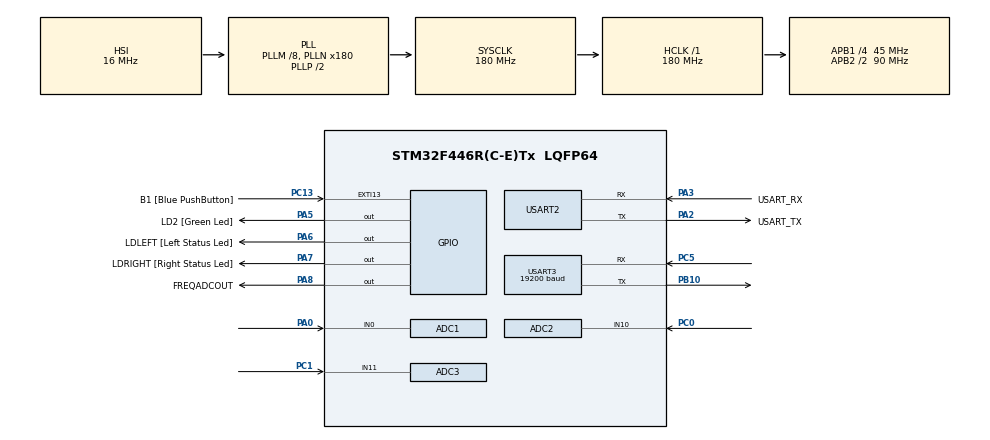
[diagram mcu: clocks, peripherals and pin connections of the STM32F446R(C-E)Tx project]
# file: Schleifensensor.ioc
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ADC1.Channel-4\#ChannelRegularConversion=ADC_CHANNEL_0
ADC1.ClockPrescaler=ADC_CLOCK_SYNC_PCLK_DIV4
ADC1.ContinuousConvMode=DISABLE
ADC1.DMAContinuousRequests=DISABLE
ADC1.DataAlign=ADC_DATAALIGN_RIGHT
ADC1.DiscontinuousConvMode=DISABLE
ADC1.EOCSelection=ADC_EOC_SEQ_CONV
ADC1.EnableAnalogWatchDog=false
ADC1.ExternalTrigConv=ADC_EXTERNALTRIGCONV_T2_TRGO
ADC1.ExternalTrigConvEdge=ADC_EXTERNALTRIGCONVEDGE_RISING
ADC1.InjNumberOfConversion=0
ADC1.NbrOfConversion=1
ADC1.NbrOfConversionFlag=1
ADC1.Rank-4\#ChannelRegularConversion=1
ADC1.Resolution=ADC_RESOLUTION_12B
ADC1.SamplingTime-4\#ChannelRegularConversion=ADC_SAMPLETIME_56CYCLES
ADC1.ScanConvMode=DISABLE
ADC1.master=1
ADC2.Channel-0\#ChannelRegularConversion=ADC_CHANNEL_10
ADC2.ClockPrescaler=ADC_CLOCK_SYNC_PCLK_DIV4
ADC2.ContinuousConvMode=DISABLE
ADC2.DMAContinuousRequests=DISABLE
ADC2.DataAlign=ADC_DATAALIGN_RIGHT
ADC2.DiscontinuousConvMode=DISABLE
ADC2.EOCSelection=ADC_EOC_SEQ_CONV
ADC2.EnableAnalogWatchDog=false
ADC2.ExternalTrigConv=ADC_EXTERNALTRIGCONV_T2_TRGO
ADC2.ExternalTrigConvEdge=ADC_EXTERNALTRIGCONVEDGE_RISING
ADC2.InjNumberOfConversion=0
ADC2.NbrOfConversion=1
ADC2.NbrOfConversionFlag=1
ADC2.Rank-0\#ChannelRegularConversion=1
ADC2.Resolution=ADC_RESOLUTION_12B
ADC2.SamplingTime-0\#ChannelRegularConversion=ADC_SAMPLETIME_56CYCLES
ADC2.ScanConvMode=DISABLE
ADC3.Channel-0\#ChannelRegularConversion=ADC_CHANNEL_11
ADC3.ClockPrescaler=ADC_CLOCK_SYNC_PCLK_DIV4
ADC3.ContinuousConvMode=DISABLE
ADC3.DMAContinuousRequests=DISABLE
ADC3.DataAlign=ADC_DATAALIGN_RIGHT
ADC3.DiscontinuousConvMode=DISABLE
ADC3.EOCSelection=ADC_EOC_SINGLE_CONV
ADC3.EnableAnalogWatchDog=false
ADC3.ExternalTrigConv=ADC_EXTERNALTRIGCONV_T2_TRGO
ADC3.ExternalTrigConvEdge=ADC_EXTERNALTRIGCONVEDGE_RISING
ADC3.InjNumberOfConversion=0
ADC3.NbrOfConversion=1
ADC3.NbrOfConversionFlag=1
ADC3.Rank-0\#ChannelRegularConversion=1
ADC3.Resolution=ADC_RESOLUTION_12B
ADC3.SamplingTime-0\#ChannelRegularConversion=ADC_SAMPLETIME_56CYCLES
ADC3.ScanConvMode=DISABLE
Dma.ADC1.2.Direction=DMA_PERIPH_TO_MEMORY
Dma.ADC1.2.FIFOMode=DMA_FIFOMODE_ENABLE
Dma.ADC1.2.FIFOThreshold=DMA_FIFO_THRESHOLD_HALFFULL
Dma.ADC1.2.Instance=DMA2_Stream0
Dma.ADC1.2.MemBurst=DMA_MBURST_SINGLE
Dma.ADC1.2.MemDataAlignment=DMA_MDATAALIGN_HALFWORD
Dma.ADC1.2.MemInc=DMA_MINC_ENABLE
Dma.ADC1.2.Mode=DMA_NORMAL
Dma.ADC1.2.PeriphBurst=DMA_PBURST_SINGLE
Dma.ADC1.2.PeriphDataAlignment=DMA_PDATAALIGN_HALFWORD
Dma.ADC1.2.PeriphInc=DMA_PINC_DISABLE
Dma.ADC1.2.Priority=DMA_PRIORITY_HIGH
Dma.ADC2.1.Direction=DMA_PERIPH_TO_MEMORY
Dma.ADC2.1.FIFOMode=DMA_FIFOMODE_ENABLE
Dma.ADC2.1.FIFOThreshold=DMA_FIFO_THRESHOLD_HALFFULL
Dma.ADC2.1.Instance=DMA2_Stream2
Dma.ADC2.1.MemBurst=DMA_MBURST_SINGLE
Dma.ADC2.1.MemDataAlignment=DMA_MDATAALIGN_HALFWORD
Dma.ADC2.1.MemInc=DMA_MINC_ENABLE
Dma.ADC2.1.Mode=DMA_NORMAL
Dma.ADC2.1.PeriphBurst=DMA_PBURST_SINGLE
Dma.ADC2.1.PeriphDataAlignment=DMA_PDATAALIGN_HALFWORD
Dma.ADC2.1.PeriphInc=DMA_PINC_DISABLE
Dma.ADC2.1.Priority=DMA_PRIORITY_HIGH
Dma.ADC3.3.Direction=DMA_PERIPH_TO_MEMORY
Dma.ADC3.3.FIFOMode=DMA_FIFOMODE_ENABLE
Dma.ADC3.3.FIFOThreshold=DMA_FIFO_THRESHOLD_HALFFULL
Dma.ADC3.3.Instance=DMA2_Stream1
Dma.ADC3.3.MemBurst=DMA_MBURST_SINGLE
Dma.ADC3.3.MemDataAlignment=DMA_MDATAALIGN_HALFWORD
Dma.ADC3.3.MemInc=DMA_MINC_ENABLE
Dma.ADC3.3.Mode=DMA_NORMAL
Dma.ADC3.3.PeriphBurst=DMA_PBURST_SINGLE
Dma.ADC3.3.PeriphDataAlignment=DMA_PDATAALIGN_HALFWORD
Dma.ADC3.3.PeriphInc=DMA_PINC_DISABLE
Dma.ADC3.3.Priority=DMA_PRIORITY_HIGH
Dma.Request0=USART2_RX
Dma.Request1=ADC2
Dma.Request2=ADC1
Dma.Request3=ADC3
Dma.USART2_RX.0.Direction=DMA_PERIPH_TO_MEMORY
Dma.USART2_RX.0.FIFOMode=DMA_FIFOMODE_DISABLE
Dma.USART2_RX.0.Instance=DMA1_Stream5
Dma.USART2_RX.0.MemDataAlignment=DMA_MDATAALIGN_BYTE
Dma.USART2_RX.0.MemInc=DMA_MINC_ENABLE
Dma.USART2_RX.0.Mode=DMA_CIRCULAR
Dma.USART2_RX.0.PeriphDataAlignment=DMA_PDATAALIGN_BYTE
Dma.USART2_RX.0.PeriphInc=DMA_PINC_DISABLE
Dma.USART2_RX.0.Priority=DMA_PRIORITY_LOW
Mcu.Family=STM32F4
Mcu.Name=STM32F446R(C-E)Tx
Mcu.Package=LQFP64
NVIC.DMA1_Stream5_IRQn=true\:0\:0\:false\:false\:true
NVIC.DMA2_Stream0_IRQn=true\:0\:0\:false\:false\:true
NVIC.DMA2_Stream1_IRQn=true\:0\:0\:false\:false\:true
NVIC.DMA2_Stream2_IRQn=true\:0\:0\:false\:false\:true
NVIC.PriorityGroup=NVIC_PRIORITYGROUP_0
NVIC.TIM2_IRQn=true\:0\:0\:false\:false\:true
PA0-WKUP.Signal=ADCx_IN0
PA13.GPIO_Label=TMS
PA13.Mode=Serial_Wire
PA13.Signal=SYS_JTMS-SWDIO
PA14.GPIO_Label=TCK
PA14.Mode=Serial_Wire
PA14.Signal=SYS_JTCK-SWCLK
PA2.GPIO_Label=USART_TX
PA2.Mode=Asynchronous
PA2.Signal=USART2_TX
PA3.GPIO_Label=USART_RX
PA3.Mode=Asynchronous
PA3.Signal=USART2_RX
PA5.GPIO_Label=LD2 [Green Led]
PA5.Signal=GPIO_Output
PA6.GPIO_Label=LDLEFT [Left Status Led]
PA6.Signal=GPIO_Output
PA7.GPIO_Label=LDRIGHT [Right Status Led]
PA7.Signal=GPIO_Output
PA8.GPIO_Label=FREQADCOUT
PA8.GPIO_Speed=GPIO_SPEED_FREQ_HIGH
PA8.Signal=GPIO_Output
PB10.Mode=Asynchronous
PB10.Signal=USART3_TX
PB3.GPIO_Label=SWO
PB3.Signal=SYS_JTDO-SWO
PC0.Signal=ADCx_IN10
PC1.Signal=ADCx_IN11
PC13.GPIO_Label=B1 [Blue PushButton]
PC13.GPIO_ModeDefaultEXTI=GPIO_MODE_EVT_RISING
PC13.Signal=GPXTI13
PC14-OSC32_IN.Signal=RCC_OSC32_IN
PC15-OSC32_OUT.Signal=RCC_OSC32_OUT
PC5.Mode=Asynchronous
PC5.Signal=USART3_RX
PH0-OSC_IN.Signal=RCC_OSC_IN
PH1-OSC_OUT.Signal=RCC_OSC_OUT
ProjectManager.HeapSize=0x200
ProjectManager.StackSize=0x400
ProjectManager.TargetToolchain=SW4STM32
RCC.AHBFreq_Value=180000000
RCC.APB1CLKDivider=RCC_HCLK_DIV4
RCC.APB1Freq_Value=45000000
RCC.APB1TimFreq_Value=90000000
RCC.APB2CLKDivider=RCC_HCLK_DIV2
RCC.APB2Freq_Value=90000000
RCC.APB2TimFreq_Value=180000000
RCC.CortexFreq_Value=180000000
RCC.FLatency-AdvancedSettings=FLASH_LATENCY_5
RCC.HCLKFreq_Value=180000000
RCC.HSE_VALUE=8000000
RCC.HSI_VALUE=16000000
RCC.LSE_VALUE=32768
RCC.PLLM=8
RCC.PLLN=180
RCC.SYSCLKFreq_VALUE=180000000
RCC.SYSCLKSource=RCC_SYSCLKSOURCE_PLLCLK
RCC.USBFreq_Value=180000000
RCC.VCOOutputFreq_Value=360000000
SH.ADCx_IN0.0=ADC1_IN0,IN0
SH.ADCx_IN10.0=ADC2_IN10,IN10
SH.ADCx_IN11.0=ADC3_IN11,IN11
TIM2.Period=1185
TIM2.Prescaler=0
TIM2.TIM_MasterOutputTrigger=TIM_TRGO_UPDATE
USART3.BaudRate=19200
USART3.Mode=MODE_TX
VP_TIM2_VS_ClockSourceINT.Mode=Internal
board=NUCLEO-F446RE

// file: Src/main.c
/**
 ******************************************************************************
 * File Name          : main.c
 * Description        : Main program body
 ******************************************************************************
 *
 * COPYRIGHT(c) 2017 STMicroelectronics
 *
 * Redistribution and use in source and binary forms, with or without modification,
 * are permitted provided that the following conditions are met:
 *   1. Redistributions of source code must retain the above copyright notice,
 *      this list of conditions and the following disclaimer.
 *   2. Redistributions in binary form must reproduce the above copyright notice,
 *      this list of conditions and the following disclaimer in the documentation
 *      and/or other materials provided with the distribution.
 *   3. Neither the name of STMicroelectronics nor the names of its contributors
 *      may be used to endorse or promote products derived from this software
 *      without specific prior written permission.
 *
 * THIS SOFTWARE IS PROVIDED BY THE COPYRIGHT HOLDERS AND CONTRIBUTORS "AS IS"
 * AND ANY EXPRESS OR IMPLIED WARRANTIES, INCLUDING, BUT NOT LIMITED TO, THE
 * IMPLIED WARRANTIES OF MERCHANTABILITY AND FITNESS FOR A PARTICULAR PURPOSE ARE
 * DISCLAIMED. IN NO EVENT SHALL THE COPYRIGHT HOLDER OR CONTRIBUTORS BE LIABLE
 * FOR ANY DIRECT, INDIRECT, INCIDENTAL, SPECIAL, EXEMPLARY, OR CONSEQUENTIAL
 * DAMAGES (INCLUDING, BUT NOT LIMITED TO, PROCUREMENT OF SUBSTITUTE GOODS OR
 * SERVICES; LOSS OF USE, DATA, OR PROFITS; OR BUSINESS INTERRUPTION) HOWEVER
 * CAUSED AND ON ANY THEORY OF LIABILITY, WHETHER IN CONTRACT, STRICT LIABILITY,
 * OR TORT (INCLUDING NEGLIGENCE OR OTHERWISE) ARISING IN ANY WAY OUT OF THE USE
 * OF THIS SOFTWARE, EVEN IF ADVISED OF THE POSSIBILITY OF SUCH DAMAGE.
 *
 ******************************************************************************
 */
#include "main.h"
#include "stm32f4xx_hal.h"

/* USER CODE BEGIN Includes */

// Wert von  htim2.Init.Period = 1185; in timer 2 kann dazu verwendet werden,
// die peakdistanz auf 480 zu justieren
#include <string.h>
#include <stdio.h>
#include <stdlib.h>
#include "calculation.h"
#include "cmd.h"
/* USER CODE END Includes */

ADC_HandleTypeDef hadc1;
ADC_HandleTypeDef hadc2;
ADC_HandleTypeDef hadc3;
DMA_HandleTypeDef hdma_adc1;
DMA_HandleTypeDef hdma_adc2;
DMA_HandleTypeDef hdma_adc3;

TIM_HandleTypeDef htim2;

UART_HandleTypeDef huart2;
UART_HandleTypeDef huart3;
DMA_HandleTypeDef hdma_usart2_rx;

/* USER CODE BEGIN PV */
/* Private variables ---------------------------------------------------------*/
volatile uint8_t convCompletedL = 0;
volatile uint8_t convCompletedR = 0;
volatile uint8_t convCompletedB = 0;

// Arrays for adc values
int16_t adcValueL[EMPF_ARRAY_SIZE];
int16_t adcValueR[EMPF_ARRAY_SIZE];
int16_t adcValueB[EMPF_ARRAY_SIZE];

// Result values for each calculated coil. Includes also a pointer to current adcValueX.
CAL_ChannelTypeDef coilL;
CAL_ChannelTypeDef coilR;
CAL_ChannelTypeDef coilB;

// Flags will be set by commandfunctions and determine if a printfunction is called.
bool flagShowSignalL = false;
bool flagShowSignalR = false;
bool flagShowSignalB = false;
bool flagShowADCSignalL = false;
bool flagShowADCSignalR = false;
bool flagShowADCSignalB = false;
bool flagShowADCSignalLRaw = false;
bool flagShowADCSignalRRaw = false;
bool flagShowADCSignalBRaw = false;
bool flag_ShowValuesSendToMaster = false;
bool flagShowOffset = false;
bool flagShowLoopTime = false;

/* USER CODE END PV */

void SystemClock_Config(void);
void Error_Handler(void);
static void MX_GPIO_Init(void);
static void MX_DMA_Init(void);
static void MX_ADC1_Init(void);
static void MX_USART2_UART_Init(void);
static void MX_TIM2_Init(void);
static void MX_ADC2_Init(void);
static void MX_USART3_UART_Init(void);
static void MX_ADC3_Init(void);

/* USER CODE BEGIN PFP */
/* Private function prototypes -----------------------------------------------*/

/* USER CODE END PFP */

/* USER CODE BEGIN 0 */
void cmd_help(int arg_cnt, char **args);
void cmd_showSignalL(int arg_cnt, char **args);
void cmd_showSignalR(int arg_cnt, char **args);
void cmd_showSignalB(int arg_cnt, char **args);
void cmd_showADCSignalL(int arg_cnt, char **args);
void cmd_showADCSignalR(int arg_cnt, char **args);
void cmd_showADCSignalB(int arg_cnt, char **args);
void cmd_showADCSignalLRaw(int arg_cnt, char **args);
void cmd_showADCSignalRRaw(int arg_cnt, char **args);
void cmd_showADCSignalBRaw(int arg_cnt, char **args);
void cmd_showValuesSendToDue(int arg_cnt, char **args);
void cmd_showOffset(int arg_cnt, char **args);
void cmd_showLoopTime(int arg_cnt, char **args);
void cmd_hideValues(int arg_cnt, char **args);
void cmd_showFreeMem(int arg_cnt, char **args);

extern void sendToMaster(CAL_ChannelTypeDef *confL, CAL_ChannelTypeDef *confR, CAL_ChannelTypeDef *confB,
		bool flag_ShowValuesSendToDue);
extern void ledSetState(CAL_ChannelTypeDef *confL, CAL_ChannelTypeDef *confR);
/* USER CODE END 0 */

int main(void) {

	/* USER CODE BEGIN 1 */
	char msg[40];
	volatile uint32_t time, deltaTime;

	/* USER CODE END 1 */

	/* MCU Configuration----------------------------------------------------------*/

	/* Reset of all peripherals, Initializes the Flash interface and the Systick. */
	HAL_Init();

	/* Configure the system clock */
	SystemClock_Config();

	/* Initialize all configured peripherals */
	MX_GPIO_Init();
	MX_DMA_Init();
	MX_ADC1_Init();
	MX_USART2_UART_Init();
	MX_TIM2_Init();
	MX_ADC2_Init();
	MX_USART3_UART_Init();
	MX_ADC3_Init();

	/* USER CODE BEGIN 2 */

	//HAL_TIM_Base_Start_IT(&htim2); //Use for checking timer frequency on D7
	HAL_TIM_Base_Start(&htim2);
	cal_init();
	cmdInit(); // Activates also USART2 Interrupt

	cmdAdd((char *) ("H"), cmd_help);
	cmdAdd((char *) ("l"), cmd_showSignalL);
	cmdAdd((char *) ("r"), cmd_showSignalR);
	cmdAdd((char *) ("b"), cmd_showSignalB);
	cmdAdd((char *) ("adcl"), cmd_showADCSignalL);
	cmdAdd((char *) ("adcr"), cmd_showADCSignalR);
	cmdAdd((char *) ("adcb"), cmd_showADCSignalB);
	cmdAdd((char *) ("adclraw"), cmd_showADCSignalLRaw);
	cmdAdd((char *) ("adcrraw"), cmd_showADCSignalRRaw);
	cmdAdd((char *) ("adcbraw"), cmd_showADCSignalBRaw);
	cmdAdd((char *) ("h"), cmd_hideValues);
	cmdAdd((char *) ("H"), cmd_help);
	cmdAdd((char *) ("s"), cmd_showValuesSendToDue);
	cmdAdd((char *) ("o"), cmd_showOffset);
	cmdAdd((char *) ("t"), cmd_showLoopTime);
	cmdAdd((char *) ("f"), cmd_showFreeMem);

	coilL.empfangssignal = adcValueL;
	coilR.empfangssignal = adcValueR;
	coilB.empfangssignal = adcValueB;

	convCompletedL = 0;
	convCompletedR = 0;
	convCompletedB = 0;

	// Linke Spule samplen
	if (HAL_ADC_Start_DMA(&hadc1, (uint32_t*) adcValueL, EMPF_ARRAY_SIZE) != HAL_OK) {
		// Start Conversation Error
		Error_Handler();
	}

	/* USER CODE END 2 */

	/* Infinite loop */
	/* USER CODE BEGIN WHILE */
	while (1) {
		time = HAL_GetTick();

		//-----------------------------------------
		// Rechte Spule samplen
		//-----------------------------------------
		if (HAL_ADC_Start_DMA(&hadc2, (uint32_t*) adcValueR, EMPF_ARRAY_SIZE) != HAL_OK) {
			// Start Conversation Error
			Error_Handler();
		}

		//-----------------------------------------
		// Linke Spule berechnen
		//-----------------------------------------
		while (!convCompletedL)
			// Wait for sample rechte spule to finish
			;
		convCompletedL = 0;
		HAL_Delay(1); //Wait one ms that the second dma channel finishing datatransfer. If not waiting, the last value in the array is wrong.
		HAL_ADC_Stop_DMA(&hadc1);

		// Print adc raw signal
		if (flagShowADCSignalLRaw) {
			cal_printADCSignal(&coilL, 50000, &flagShowADCSignalLRaw);  //Empfangssignal auf Konsole ausgeben
		}

		cal_offset(&coilL);
		cal_convolve(&coilL);

		if (flagShowSignalL) {
			cal_printSignal(&coilL, 50000, &flagShowSignalL);  //Empfangssignal und Korrelatiossignal auf Konsole ausgeben
		}
		if (flagShowADCSignalL) {
			cal_printADCSignal(&coilL, 50000, &flagShowADCSignalL);  //Empfangssignal auf Konsole ausgeben
		}

		//-----------------------------------------
		// Hintere Spule samplen
		//-----------------------------------------
		if (HAL_ADC_Start_DMA(&hadc3, (uint32_t*) adcValueB, EMPF_ARRAY_SIZE) != HAL_OK) {
			// Start Conversation Error
			Error_Handler();
		}

		//-----------------------------------------
		// Recht Spule berechnen
		//-----------------------------------------
		while (!convCompletedR)
			// Wait for sample rechte spule to finish
			;
		convCompletedR = 0;
		HAL_Delay(1); //Wait one ms that the second dma channel finishing datatransfer. If not waiting, the last value in the array is wrong.
		HAL_ADC_Stop_DMA(&hadc2);

		if (flagShowADCSignalRRaw) {
			cal_printADCSignal(&coilR, 40000, &flagShowADCSignalRRaw);  //Empfangssignal auf Konsole ausgeben
		}

		cal_offset(&coilR);
		cal_convolve(&coilR);

		if (flagShowSignalR) {
			cal_printSignal(&coilR, 40000, &flagShowSignalR);  //Empfangssignal und Korrelatiossignal auf Konsole ausgeben
		}
		if (flagShowADCSignalR) {
			cal_printADCSignal(&coilR, 40000, &flagShowADCSignalR);  //Empfangssignal auf Konsole ausgeben
		}
		//-----------------------------------------
		// Linke Spule samplen
		//-----------------------------------------
		if (HAL_ADC_Start_DMA(&hadc1, (uint32_t*) adcValueL, EMPF_ARRAY_SIZE) != HAL_OK) {
			// Start Conversation Error
			Error_Handler();
		}

		//-----------------------------------------
		// Hintere Spule berechnen
		//-----------------------------------------
		while (!convCompletedB)
			// Wait for sample rechte spule to finish
			;
		convCompletedB = 0;
		HAL_Delay(1); //Wait one ms that the second dma channel finishing datatransfer. If not waiting, the last value in the array is wrong.
		HAL_ADC_Stop_DMA(&hadc3);

		if (flagShowADCSignalBRaw) {
			cal_printADCSignal(&coilB, 30000, &flagShowADCSignalBRaw);  //Empfangssignal auf Konsole ausgeben
		}

		cal_offset(&coilB);
		cal_convolve(&coilB);

		if (flagShowSignalB) {
			cal_printSignal(&coilB, 30000, &flagShowSignalB);  //Empfangssignal und Korrelatiossignal auf Konsole ausgeben
		}
		if (flagShowADCSignalB) {
			cal_printADCSignal(&coilB, 30000, &flagShowADCSignalB);  //Empfangssignal auf Konsole ausgeben
		}

		//-----------------------------------------
		// An Master senden
		//-----------------------------------------
		sendToMaster(&coilL, &coilR, &coilB, flag_ShowValuesSendToMaster); // Sets LED status too
		ledSetState(&coilL, &coilR);

		//-----------------------------------------
		// Offset ausgeben
		//-----------------------------------------

		if (flagShowOffset) {
			cal_printOffset(&coilL, &coilR, &coilB);
		}

		//-----------------------------------------
		// Loopdauer ausgeben
		//-----------------------------------------

		if (flagShowLoopTime) {
			deltaTime = HAL_GetTick() - time;
			time = HAL_GetTick();

			sprintf(msg, "time: %lu\r\n", time);
			HAL_UART_Transmit(&huart2, (uint8_t*) msg, strlen(msg),
			HAL_MAX_DELAY);

			sprintf(msg, "deltaTime: %lu\r\n", deltaTime);
			HAL_UART_Transmit(&huart2, (uint8_t*) msg, strlen(msg),
			HAL_MAX_DELAY);

		}
		/* USER CODE END WHILE */

	}

}

/** System Clock Configuration
 */
void SystemClock_Config(void) {

	RCC_OscInitTypeDef RCC_OscInitStruct;
	RCC_ClkInitTypeDef RCC_ClkInitStruct;

	/**Configure the main internal regulator output voltage
	 */
	__HAL_RCC_PWR_CLK_ENABLE()
	;

	__HAL_PWR_VOLTAGESCALING_CONFIG(PWR_REGULATOR_VOLTAGE_SCALE1);

	/**Initializes the CPU, AHB and APB busses clocks
	 */
	RCC_OscInitStruct.OscillatorType = RCC_OSCILLATORTYPE_HSI;
	RCC_OscInitStruct.HSIState = RCC_HSI_ON;
	RCC_OscInitStruct.HSICalibrationValue = 16;
	RCC_OscInitStruct.PLL.PLLState = RCC_PLL_ON;
	RCC_OscInitStruct.PLL.PLLSource = RCC_PLLSOURCE_HSI;
	RCC_OscInitStruct.PLL.PLLM = 8;
	RCC_OscInitStruct.PLL.PLLN = 180;
	RCC_OscInitStruct.PLL.PLLP = RCC_PLLP_DIV2;
	RCC_OscInitStruct.PLL.PLLQ = 2;
	RCC_OscInitStruct.PLL.PLLR = 2;
	if (HAL_RCC_OscConfig(&RCC_OscInitStruct) != HAL_OK) {
		Error_Handler();
	}

	/**Activate the Over-Drive mode
	 */
	if (HAL_PWREx_EnableOverDrive() != HAL_OK) {
		Error_Handler();
	}

	/**Initializes the CPU, AHB and APB busses clocks
	 */
	RCC_ClkInitStruct.ClockType = RCC_CLOCKTYPE_HCLK | RCC_CLOCKTYPE_SYSCLK | RCC_CLOCKTYPE_PCLK1 | RCC_CLOCKTYPE_PCLK2;
	RCC_ClkInitStruct.SYSCLKSource = RCC_SYSCLKSOURCE_PLLCLK;
	RCC_ClkInitStruct.AHBCLKDivider = RCC_SYSCLK_DIV1;
	RCC_ClkInitStruct.APB1CLKDivider = RCC_HCLK_DIV4;
	RCC_ClkInitStruct.APB2CLKDivider = RCC_HCLK_DIV2;

	if (HAL_RCC_ClockConfig(&RCC_ClkInitStruct, FLASH_LATENCY_5) != HAL_OK) {
		Error_Handler();
	}

	/**Configure the Systick interrupt time
	 */
	HAL_SYSTICK_Config(HAL_RCC_GetHCLKFreq() / 1000);

	/**Configure the Systick
	 */
	HAL_SYSTICK_CLKSourceConfig(SYSTICK_CLKSOURCE_HCLK);

	/* SysTick_IRQn interrupt configuration */
	HAL_NVIC_SetPriority(SysTick_IRQn, 0, 0);
}

/* ADC1 init function */
static void MX_ADC1_Init(void) {

	ADC_ChannelConfTypeDef sConfig;

	/**Configure the global features of the ADC (Clock, Resolution, Data Alignment and number of conversion)
	 */
	hadc1.Instance = ADC1;
	hadc1.Init.ClockPrescaler = ADC_CLOCK_SYNC_PCLK_DIV4;
	hadc1.Init.Resolution = ADC_RESOLUTION_12B;
	hadc1.Init.ScanConvMode = DISABLE;
	hadc1.Init.ContinuousConvMode = DISABLE;
	hadc1.Init.DiscontinuousConvMode = DISABLE;
	hadc1.Init.ExternalTrigConvEdge = ADC_EXTERNALTRIGCONVEDGE_RISING;
	hadc1.Init.ExternalTrigConv = ADC_EXTERNALTRIGCONV_T2_TRGO;
	hadc1.Init.DataAlign = ADC_DATAALIGN_RIGHT;
	hadc1.Init.NbrOfConversion = 1;
	hadc1.Init.DMAContinuousRequests = DISABLE;
	hadc1.Init.EOCSelection = ADC_EOC_SEQ_CONV;
	if (HAL_ADC_Init(&hadc1) != HAL_OK) {
		Error_Handler();
	}

	/**Configure for the selected ADC regular channel its corresponding rank in the sequencer and its sample time.
	 */
	sConfig.Channel = ADC_CHANNEL_0;
	sConfig.Rank = 1;
	sConfig.SamplingTime = ADC_SAMPLETIME_56CYCLES;
	if (HAL_ADC_ConfigChannel(&hadc1, &sConfig) != HAL_OK) {
		Error_Handler();
	}

}

/* ADC2 init function */
static void MX_ADC2_Init(void) {

	ADC_ChannelConfTypeDef sConfig;

	/**Configure the global features of the ADC (Clock, Resolution, Data Alignment and number of conversion)
	 */
	hadc2.Instance = ADC2;
	hadc2.Init.ClockPrescaler = ADC_CLOCK_SYNC_PCLK_DIV4;
	hadc2.Init.Resolution = ADC_RESOLUTION_12B;
	hadc2.Init.ScanConvMode = DISABLE;
	hadc2.Init.ContinuousConvMode = DISABLE;
	hadc2.Init.DiscontinuousConvMode = DISABLE;
	hadc2.Init.ExternalTrigConvEdge = ADC_EXTERNALTRIGCONVEDGE_RISING;
	hadc2.Init.ExternalTrigConv = ADC_EXTERNALTRIGCONV_T2_TRGO;
	hadc2.Init.DataAlign = ADC_DATAALIGN_RIGHT;
	hadc2.Init.NbrOfConversion = 1;
	hadc2.Init.DMAContinuousRequests = DISABLE;
	hadc2.Init.EOCSelection = ADC_EOC_SEQ_CONV;
	if (HAL_ADC_Init(&hadc2) != HAL_OK) {
		Error_Handler();
	}

	/**Configure for the selected ADC regular channel its corresponding rank in the sequencer and its sample time.
	 */
	sConfig.Channel = ADC_CHANNEL_10;
	sConfig.Rank = 1;
	sConfig.SamplingTime = ADC_SAMPLETIME_56CYCLES;
	if (HAL_ADC_ConfigChannel(&hadc2, &sConfig) != HAL_OK) {
		Error_Handler();
	}

}

/* ADC3 init function */
static void MX_ADC3_Init(void) {

	ADC_ChannelConfTypeDef sConfig;

	/**Configure the global features of the ADC (Clock, Resolution, Data Alignment and number of conversion)
	 */
	hadc3.Instance = ADC3;
	hadc3.Init.ClockPrescaler = ADC_CLOCK_SYNC_PCLK_DIV4;
	hadc3.Init.Resolution = ADC_RESOLUTION_12B;
	hadc3.Init.ScanConvMode = DISABLE;
	hadc3.Init.ContinuousConvMode = DISABLE;
	hadc3.Init.DiscontinuousConvMode = DISABLE;
	hadc3.Init.ExternalTrigConvEdge = ADC_EXTERNALTRIGCONVEDGE_RISING;
	hadc3.Init.ExternalTrigConv = ADC_EXTERNALTRIGCONV_T2_TRGO;
	hadc3.Init.DataAlign = ADC_DATAALIGN_RIGHT;
	hadc3.Init.NbrOfConversion = 1;
	hadc3.Init.DMAContinuousRequests = DISABLE;
	hadc3.Init.EOCSelection = ADC_EOC_SINGLE_CONV;
	if (HAL_ADC_Init(&hadc3) != HAL_OK) {
		Error_Handler();
	}

	/**Configure for the selected ADC regular channel its corresponding rank in the sequencer and its sample time.
	 */
	sConfig.Channel = ADC_CHANNEL_11;
	sConfig.Rank = 1;
	sConfig.SamplingTime = ADC_SAMPLETIME_56CYCLES;
	if (HAL_ADC_ConfigChannel(&hadc3, &sConfig) != HAL_OK) {
		Error_Handler();
	}

}

/* TIM2 init function */
static void MX_TIM2_Init(void) {

	TIM_ClockConfigTypeDef sClockSourceConfig;
	TIM_MasterConfigTypeDef sMasterConfig;

	htim2.Instance = TIM2;
	htim2.Init.Prescaler = 0;
	htim2.Init.CounterMode = TIM_COUNTERMODE_UP;
	htim2.Init.Period = 1185;
	htim2.Init.ClockDivision = TIM_CLOCKDIVISION_DIV1;
	if (HAL_TIM_Base_Init(&htim2) != HAL_OK) {
		Error_Handler();
	}

	sClockSourceConfig.ClockSource = TIM_CLOCKSOURCE_INTERNAL;
	if (HAL_TIM_ConfigClockSource(&htim2, &sClockSourceConfig) != HAL_OK) {
		Error_Handler();
	}

	sMasterConfig.MasterOutputTrigger = TIM_TRGO_UPDATE;
	sMasterConfig.MasterSlaveMode = TIM_MASTERSLAVEMODE_DISABLE;
	if (HAL_TIMEx_MasterConfigSynchronization(&htim2, &sMasterConfig) != HAL_OK) {
		Error_Handler();
	}

}

/* USART2 init function */
static void MX_USART2_UART_Init(void) {

	huart2.Instance = USART2;
	huart2.Init.BaudRate = 115200;
	huart2.Init.WordLength = UART_WORDLENGTH_8B;
	huart2.Init.StopBits = UART_STOPBITS_1;
	huart2.Init.Parity = UART_PARITY_NONE;
	huart2.Init.Mode = UART_MODE_TX_RX;
	huart2.Init.HwFlowCtl = UART_HWCONTROL_NONE;
	huart2.Init.OverSampling = UART_OVERSAMPLING_16;
	if (HAL_UART_Init(&huart2) != HAL_OK) {
		Error_Handler();
	}

}

/* USART3 init function */
static void MX_USART3_UART_Init(void) {

	huart3.Instance = USART3;
	huart3.Init.BaudRate = 19200;
	huart3.Init.WordLength = UART_WORDLENGTH_8B;
	huart3.Init.StopBits = UART_STOPBITS_1;
	huart3.Init.Parity = UART_PARITY_NONE;
	huart3.Init.Mode = UART_MODE_TX;
	huart3.Init.HwFlowCtl = UART_HWCONTROL_NONE;
	huart3.Init.OverSampling = UART_OVERSAMPLING_16;
	if (HAL_UART_Init(&huart3) != HAL_OK) {
		Error_Handler();
	}

}

static void MX_DMA_Init(void) {
	/* DMA controller clock enable */
	__HAL_RCC_DMA1_CLK_ENABLE()
	;
	__HAL_RCC_DMA2_CLK_ENABLE()
	;

	/* DMA interrupt init */
	/* DMA1_Stream5_IRQn interrupt configuration */
	HAL_NVIC_SetPriority(DMA1_Stream5_IRQn, 0, 0);
	HAL_NVIC_EnableIRQ(DMA1_Stream5_IRQn);
	/* DMA2_Stream0_IRQn interrupt configuration */
	HAL_NVIC_SetPriority(DMA2_Stream0_IRQn, 0, 0);
	HAL_NVIC_EnableIRQ(DMA2_Stream0_IRQn);
	/* DMA2_Stream1_IRQn interrupt configuration */
	HAL_NVIC_SetPriority(DMA2_Stream1_IRQn, 0, 0);
	HAL_NVIC_EnableIRQ(DMA2_Stream1_IRQn);
	/* DMA2_Stream2_IRQn interrupt configuration */
	HAL_NVIC_SetPriority(DMA2_Stream2_IRQn, 0, 0);
	HAL_NVIC_EnableIRQ(DMA2_Stream2_IRQn);

}

/** Configure pins as
 * Analog
 * Input
 * Output
 * EVENT_OUT
 * EXTI
 * Free pins are configured automatically as Analog (this feature is enabled through
 * the Code Generation settings)
 */
static void MX_GPIO_Init(void) {

	GPIO_InitTypeDef GPIO_InitStruct;

	/* GPIO Ports Clock Enable */
	__HAL_RCC_GPIOC_CLK_ENABLE()
	;
	__HAL_RCC_GPIOH_CLK_ENABLE()
	;
	__HAL_RCC_GPIOA_CLK_ENABLE()
	;
	__HAL_RCC_GPIOB_CLK_ENABLE()
	;
	__HAL_RCC_GPIOD_CLK_ENABLE()
	;

	/*Configure GPIO pin : B1_Pin */
	GPIO_InitStruct.Pin = B1_Pin;
	GPIO_InitStruct.Mode = GPIO_MODE_EVT_RISING;
	GPIO_InitStruct.Pull = GPIO_NOPULL;
	HAL_GPIO_Init(B1_GPIO_Port, &GPIO_InitStruct);

	/*Configure GPIO pins : PC2 PC3 PC4 PC6
	 PC7 PC8 PC9 PC10
	 PC11 PC12 */
	GPIO_InitStruct.Pin = GPIO_PIN_2 | GPIO_PIN_3 | GPIO_PIN_4 | GPIO_PIN_6 | GPIO_PIN_7 | GPIO_PIN_8 | GPIO_PIN_9
			| GPIO_PIN_10 | GPIO_PIN_11 | GPIO_PIN_12;
	GPIO_InitStruct.Mode = GPIO_MODE_ANALOG;
	GPIO_InitStruct.Pull = GPIO_NOPULL;
	HAL_GPIO_Init(GPIOC, &GPIO_InitStruct);

	/*Configure GPIO pins : PA1 PA4 PA9 PA10
	 PA11 PA12 PA15 */
	GPIO_InitStruct.Pin = GPIO_PIN_1 | GPIO_PIN_4 | GPIO_PIN_9 | GPIO_PIN_10 | GPIO_PIN_11 | GPIO_PIN_12 | GPIO_PIN_15;
	GPIO_InitStruct.Mode = GPIO_MODE_ANALOG;
	GPIO_InitStruct.Pull = GPIO_NOPULL;
	HAL_GPIO_Init(GPIOA, &GPIO_InitStruct);

	/*Configure GPIO pins : LD2_Pin LDLEFT_Pin LDRIGHT_Pin */
	GPIO_InitStruct.Pin = LD2_Pin | LDLEFT_Pin | LDRIGHT_Pin;
	GPIO_InitStruct.Mode = GPIO_MODE_OUTPUT_PP;
	GPIO_InitStruct.Pull = GPIO_NOPULL;
	GPIO_InitStruct.Speed = GPIO_SPEED_FREQ_LOW;
	HAL_GPIO_Init(GPIOA, &GPIO_InitStruct);

	/*Configure GPIO pins : PB0 PB1 PB2 PB12
	 PB13 PB14 PB15 PB4
	 PB5 PB6 PB7 PB8
	 PB9 */
	GPIO_InitStruct.Pin = GPIO_PIN_0 | GPIO_PIN_1 | GPIO_PIN_2 | GPIO_PIN_12 | GPIO_PIN_13 | GPIO_PIN_14 | GPIO_PIN_15
			| GPIO_PIN_4 | GPIO_PIN_5 | GPIO_PIN_6 | GPIO_PIN_7 | GPIO_PIN_8 | GPIO_PIN_9;
	GPIO_InitStruct.Mode = GPIO_MODE_ANALOG;
	GPIO_InitStruct.Pull = GPIO_NOPULL;
	HAL_GPIO_Init(GPIOB, &GPIO_InitStruct);

	/*Configure GPIO pin : FREQADCOUT_Pin */
	GPIO_InitStruct.Pin = FREQADCOUT_Pin;
	GPIO_InitStruct.Mode = GPIO_MODE_OUTPUT_PP;
	GPIO_InitStruct.Pull = GPIO_NOPULL;
	GPIO_InitStruct.Speed = GPIO_SPEED_FREQ_HIGH;
	HAL_GPIO_Init(FREQADCOUT_GPIO_Port, &GPIO_InitStruct);

	/*Configure GPIO pin : PD2 */
	GPIO_InitStruct.Pin = GPIO_PIN_2;
	GPIO_InitStruct.Mode = GPIO_MODE_ANALOG;
	GPIO_InitStruct.Pull = GPIO_NOPULL;
	HAL_GPIO_Init(GPIOD, &GPIO_InitStruct);

	/*Configure GPIO pin Output Level */
	HAL_GPIO_WritePin(GPIOA, LD2_Pin | LDLEFT_Pin | LDRIGHT_Pin | FREQADCOUT_Pin, GPIO_PIN_RESET);

}

/* USER CODE BEGIN 4 */

/* Using malloc() to determine free memory.
 Hi Ed, I have found a little program to know how much RAM is available for dynamic allocation.
 I call FreeMem() at several critical places to understand what happens with the memory allocation.
 The code is short, I hope this can help you.
 Robert
 */
#define FREEMEM_CELL 100
struct elem { /* Definition of a structure that is FREEMEM_CELL bytes  in size.) */
	struct elem *next;
	char dummy[FREEMEM_CELL - 4]; // für 32 Bit Prozessor
//char dummy[FREEMEM_CELL-2]; // für  8 Bit Prozessor
};
unsigned long FreeMem(void) {
	unsigned long counter;
	struct elem *head, *current, *nextone;
	current = head = (struct elem*) malloc(sizeof(struct elem));
	if (head == NULL)
		return 0; /*No memory available.*/
	counter = 0;
	// __disable_irq();
	do {
		counter++;
		current->next = (struct elem*) malloc(sizeof(struct elem));
		current = current->next;
	} while (current != NULL);
	/* Now counter holds the number of type elem
	 structures we were able to allocate. We
	 must free them all before returning. */
	current = head;
	do {
		nextone = current->next;
		free(current);
		current = nextone;
	} while (nextone != NULL);
	// __enable_irq();

	return counter * FREEMEM_CELL;
}

//--------------------------------------------------
// User interface functions
//--------------------------------------------------
const char cmd_help_string[] = "\r\n"
		"l    show signals left\r\n"
		"r    show signals right\r\n"
		"b    show signals back\r\n"
		"adcl show adc values left corrected by offset\r\n"
		"adcr show adc values right corrected by offset\r\n"
		"adcb show adc values back corrected by offset\r\n"
		"adclraw show captured adc values left \r\n"
		"adcrraw show captured adc values right\r\n"
		"adcbraw show captured adc values back\r\n"
		"o    show offset of ADC signal\r\n"
		"s    show values sending to due + quality and peak distance\r\n"
		"h    stop showing\r\n"
		"H    will print this help message again\r\n"
		"t    show loop duration\r\n"
		"f    show free mem\r\n"
		"\r\n";

void cmd_help(int arg_cnt, char **args) {
	HAL_UART_Transmit(&huart2, (uint8_t*) cmd_help_string, strlen(cmd_help_string), HAL_MAX_DELAY);
}

void cmd_showFreeMem(int arg_cnt, char **args) {
	char msg[100];
	unsigned long i = FreeMem();
	sprintf(msg, "FreeMem: %lu\r\n", i);
	HAL_UART_Transmit(&huart2, (uint8_t*) msg, strlen(msg), HAL_MAX_DELAY);
	HAL_Delay(10);
}

void cmd_showSignalL(int arg_cnt, char **args) {
	flagShowSignalL = true;
}

void cmd_showSignalR(int arg_cnt, char **args) {
	flagShowSignalR = true;
}

void cmd_showSignalB(int arg_cnt, char **args) {
	flagShowSignalB = true;
}

void cmd_showADCSignalL(int arg_cnt, char **args) {
	flagShowADCSignalL = true;
}

void cmd_showADCSignalR(int arg_cnt, char **args) {
	flagShowADCSignalR = true;
}

void cmd_showADCSignalB(int arg_cnt, char **args) {
	flagShowADCSignalB = true;
}

void cmd_showADCSignalLRaw(int arg_cnt, char **args) {
	flagShowADCSignalLRaw = true;
}

void cmd_showADCSignalRRaw(int arg_cnt, char **args) {
	flagShowADCSignalRRaw = true;
}

void cmd_showADCSignalBRaw(int arg_cnt, char **args) {
	flagShowADCSignalBRaw = true;
}

void cmd_showValuesSendToDue(int arg_cnt, char **args) {
	flag_ShowValuesSendToMaster = true;
}

void cmd_showOffset(int arg_cnt, char **args) {
	flagShowOffset = true;
}

void cmd_showLoopTime(int arg_cnt, char **args) {
	flagShowLoopTime = true;
}

void cmd_hideValues(int arg_cnt, char **args) {
	flagShowSignalL = false;
	flagShowSignalR = false;
	flagShowSignalB = false;
	flagShowADCSignalL = false;
	flagShowADCSignalR = false;
	flagShowADCSignalB = false;
	flagShowADCSignalLRaw = false;
	flagShowADCSignalRRaw = false;
	flagShowADCSignalBRaw = false;
	flag_ShowValuesSendToMaster = false;
	flagShowOffset = false;
	flagShowLoopTime = false;
}

/* USER CODE END 4 */

void Error_Handler(void) {
	while (1) {
	}
}

/************************ (C) COPYRIGHT STMicroelectronics *****END OF FILE****/
